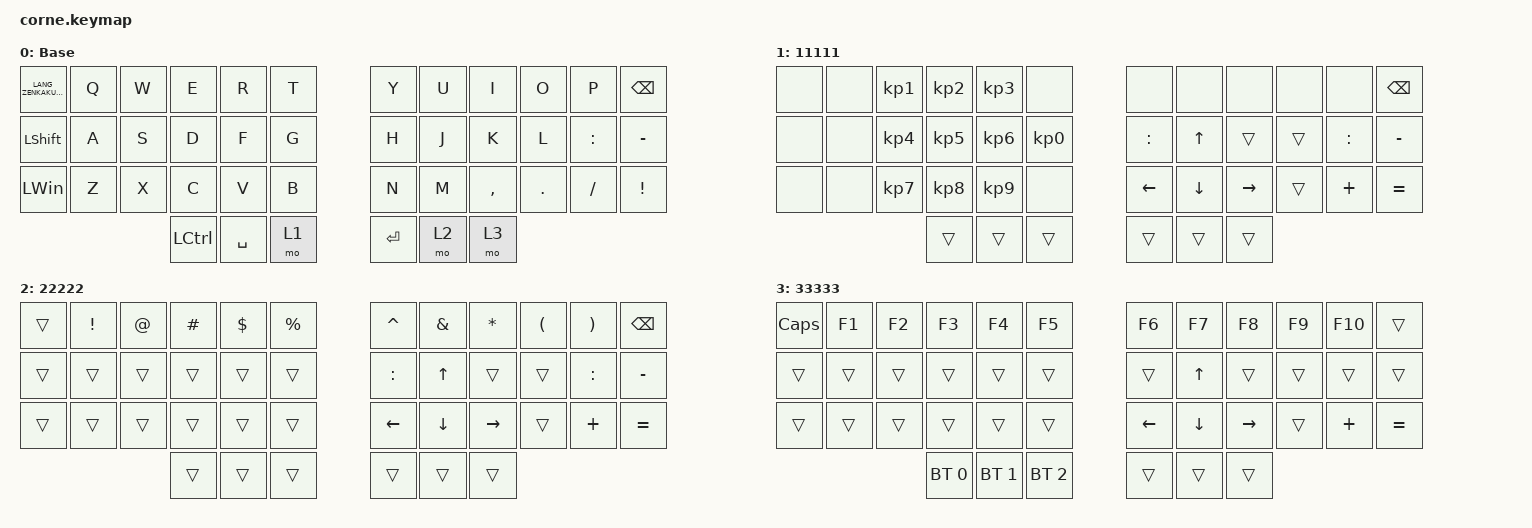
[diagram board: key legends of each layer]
/*
 * Copyright (c) 2020 The ZMK Contributors
 *
 * SPDX-License-Identifier: MIT
 */

#include <behaviors.dtsi>
#include <dt-bindings/zmk/bt.h>
#include <dt-bindings/zmk/keys.h>

/ {
    combos {
        compatible = "zmk,combos";

        esc {
            bindings = <&kp ESC>;
            key-positions = <0 1>;
        };

        windows {
            bindings = <&kp LEFT_ALT>;
            key-positions = <37 36>;
        };

        ten {
            bindings = <&kp SQT>;
            key-positions = <22 23>;
        };

        prt {
            bindings = <&kp PRINTSCREEN>;
            key-positions = <10 11>;
        };

        tab {
            bindings = <&kp TAB>;
            key-positions = <12 13>;
        };

        delete {
            bindings = <&kp DELETE>;
            key-positions = <11 23>;
        };
    };

    keymap {
        compatible = "zmk,keymap";

        default_layer {
            // -----------------------------------------------------------------------------------------
            // |  TAB |  Q  |  W  |  E  |  R  |  T  |   |  Y  |  U   |  I  |  O  |  P  | BKSP |
            // | CTRL |  A  |  S  |  D  |  F  |  G  |   |  H  |  J   |  K  |  L  |  ;  |  '   |
            // | SHFT |  Z  |  X  |  C  |  V  |  B  |   |  N  |  M   |  ,  |  .  |  /  | ESC  |
            //                    | GUI | LWR | SPC |   | ENT | RSE  | ALT |

            display-name = "Base";
            bindings = <
&kp LANG_ZENKAKUHANKAKU  &kp Q  &kp W  &kp E      &kp R      &kp T    &kp Y      &kp U  &kp I      &kp O    &kp P      &kp BSPC
&kp LEFT_SHIFT           &kp A  &kp S  &kp D      &kp F      &kp G    &kp H      &kp J  &kp K      &kp L    &kp COLON  &kp MINUS
&kp LEFT_WIN             &kp Z  &kp X  &kp C      &kp V      &kp B    &kp N      &kp M  &kp COMMA  &kp DOT  &kp FSLH   &kp EXCLAMATION
                                       &kp LCTRL  &kp SPACE  &mo 1    &kp ENTER  &mo 2  &mo 3
            >;
        };

        lower_layer {
            // -----------------------------------------------------------------------------------------
            // |  TAB |  1  |  2  |  3  |  4  |  5  |   |  6  |  7  |  8  |  9  |  0  | BKSP |
            // | BTCLR| BT1 | BT2 | BT3 | BT4 | BT5 |   | LFT | DWN |  UP | RGT |     |      |
            // | SHFT |     |     |     |     |     |   |     |     |     |     |     |      |
            //                    | GUI |     | SPC |   | ENT |     | ALT |

            display-name = "11111";
            bindings = <
&none  &none  &kp KP_NUMBER_1  &kp KP_NUMBER_2  &kp KP_NUMBER_3  &none              &none           &none           &none            &none   &none      &kp BSPC
&none  &none  &kp KP_NUMBER_4  &kp KP_NUMBER_5  &kp KP_NUMBER_6  &kp KP_NUMBER_0    &kp COLON       &kp UP_ARROW    &trans           &trans  &kp COLON  &kp MINUS
&none  &none  &kp KP_NUMBER_7  &kp KP_NUMBER_8  &kp KP_NUMBER_9  &none              &kp LEFT_ARROW  &kp DOWN_ARROW  &kp RIGHT_ARROW  &trans  &kp PLUS   &kp EQUAL
                               &trans           &trans           &trans             &trans          &trans          &trans
            >;
        };

        layer2 {
            display-name = "22222";
            bindings = <
&trans  &kp EXCLAMATION  &kp AT_SIGN  &kp HASH  &kp DOLLAR  &kp PERCENT    &kp CARET       &kp AMPERSAND   &kp ASTERISK     &kp LEFT_PARENTHESIS  &kp RIGHT_PARENTHESIS  &kp BSPC
&trans  &trans           &trans       &trans    &trans      &trans         &kp COLON       &kp UP_ARROW    &trans           &trans                &kp COLON              &kp MINUS
&trans  &trans           &trans       &trans    &trans      &trans         &kp LEFT_ARROW  &kp DOWN_ARROW  &kp RIGHT_ARROW  &trans                &kp PLUS               &kp EQUAL
                                      &trans    &trans      &trans         &trans          &trans          &trans
            >;
        };

        layer3 {
            display-name = "33333";
            bindings = <
&kp CAPSLOCK  &kp F1  &kp F2  &kp F3        &kp F4        &kp F5          &kp F6    &kp F7          &kp F8           &kp F9  &kp F10   &trans
&trans        &trans  &trans  &trans        &trans        &trans          &trans    &kp UP_ARROW    &trans           &trans  &trans    &trans
&trans        &trans  &trans  &trans        &trans        &trans          &kp LEFT  &kp DOWN_ARROW  &kp RIGHT_ARROW  &trans  &kp PLUS  &kp EQUAL
                              &bt BT_SEL 0  &bt BT_SEL 1  &bt BT_SEL 2    &trans    &trans          &trans
            >;
        };
    };

    conditional_layers { compatible = "zmk,conditional-layers"; };
};
